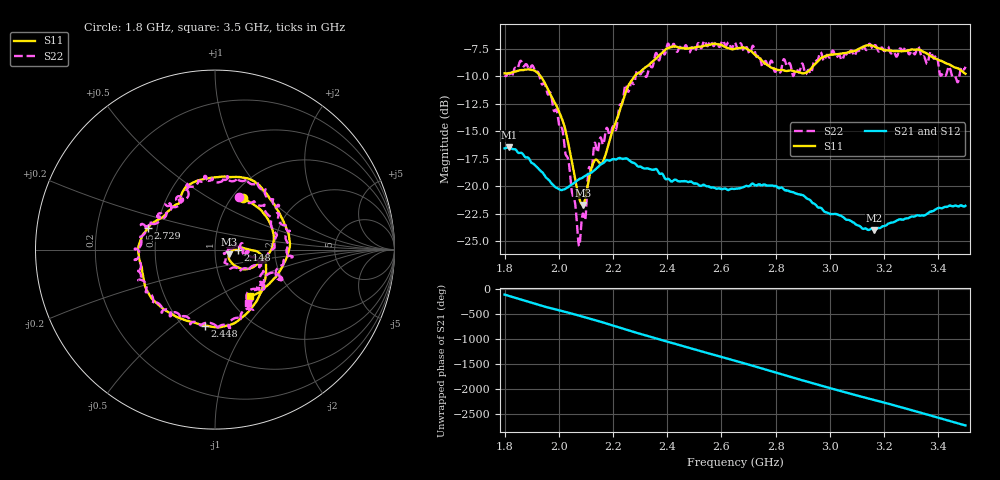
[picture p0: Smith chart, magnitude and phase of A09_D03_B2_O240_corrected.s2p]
! Created with skrf 1.9.0 (http://scikit-rf.org).
# Hz S RI R 50.0
!freq ReS11 ImS11 ReS21 ImS21 ReS12 ImS12 ReS22 ImS22
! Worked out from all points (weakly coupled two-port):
!   1601 points, 1.8 GHz to 3.5 GHz, reference 50 ohm
!   highest |S21| = -16.47 dB at 1.817 GHz (marker M1); lowest = -24.0 dB at 3.164 GHz (marker M2)
!   lowest |S11| = -21.7 dB at 2.088 GHz (marker M3), VSWR 1.18, Z = 58.3 - j3.1 ohm
!   |S11| at or under -10 dB: 1.933 GHz to 2.279 GHz (345.3 MHz wide, 16.4 % of centre)
!   |S22| runs from -25.5 to -6.7 dB; largest |S21 - S12| = 0.0026
!   S11 on the Smith chart (normalised r, x): 1.8 GHz: 1.12, +0.72; 2.148 GHz: 1.29, -0.01; 2.448 GHz: 0.63, -0.66; 2.729 GHz: 0.45, +0.13; 3.5 GHz: 1.25, -0.73
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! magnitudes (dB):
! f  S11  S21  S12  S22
! 1.8 GHz  -9.7  -16.6  -16.6  -9.9
! 1.817 GHz  -9.7  -16.5  -16.5  -9.7
! 1.903 GHz  -9.4  -17.9  -17.9  -9.0
! 1.968 GHz  -11.6  -19.6  -19.6  -11.5
! 2.015 GHz  -14.1  -20.3  -20.3  -15.0
! 2.072 GHz  -20.8  -19.4  -19.5  -25.1
! 2.084 GHz  -21.6  -19.3  -19.2  -23.3
! 2.088 GHz  -21.7  -19.2  -19.2  -22.5
! 2.112 GHz  -19.1  -18.9  -18.9  -18.3
! 2.148 GHz  -17.8  -18.2  -18.2  -16.1
! 2.209 GHz  -14.3  -17.6  -17.5  -14.9
! 2.261 GHz  -10.6  -17.7  -17.7  -11.1
! 2.367 GHz  -8.2  -18.7  -18.7  -8.5
! 2.448 GHz  -7.4  -19.6  -19.6  -7.3
! 2.65 GHz  -7.5  -20.2  -20.2  -6.9
! 2.729 GHz  -8.1  -19.9  -20.0  -8.2
! 2.934 GHz  -9.2  -21.5  -21.4  -9.5
! 3.164 GHz  -7.3  -24.0  -24.0  -7.2
! 3.217 GHz  -7.6  -23.4  -23.4  -7.4
! 3.376 GHz  -8.2  -22.3  -22.3  -7.9
! 3.468 GHz  -9.2  -21.8  -21.8  -10.4
! 3.5 GHz  -9.8  -21.8  -21.8  -9.1
